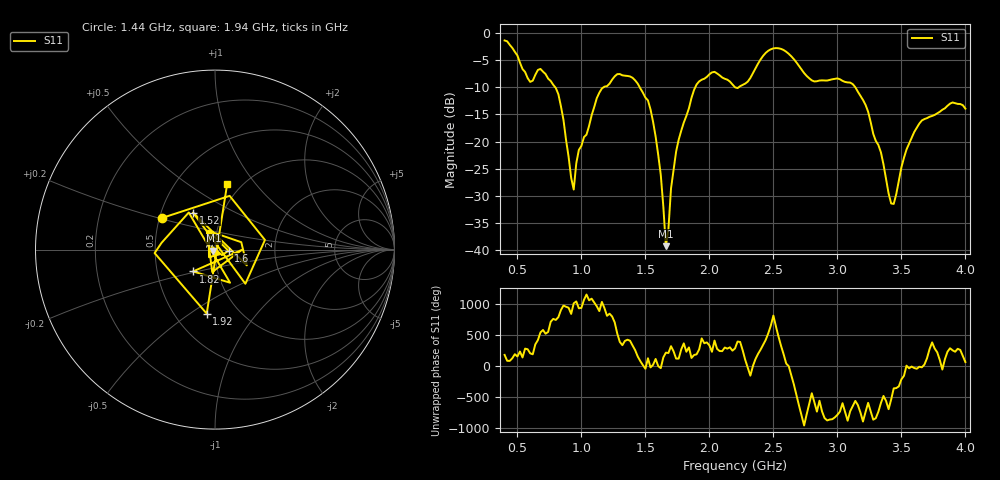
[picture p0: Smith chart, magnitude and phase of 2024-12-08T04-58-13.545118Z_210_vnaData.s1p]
!Created with skrf (http://scikit-rf.org).
# Hz S RI R 50.0
!freq ReS11 ImS11
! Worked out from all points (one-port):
!   181 points, 400 MHz to 4 GHz, reference 50 ohm
!   lowest |S11| = -39.3 dB at 1.66 GHz (marker M1), VSWR 1.02, Z = 49.1 - j0.535 ohm
!   |S11| at or under -10 dB: 796.6 MHz to 1.171 GHz (374.8 MHz wide, 38.1 % of centre); 1.456 GHz to 1.889 GHz (432.9 MHz wide, 25.9 % of centre); 3.141 GHz to end of sweep (the widest 3 of 4)
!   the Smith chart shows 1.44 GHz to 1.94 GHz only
!   S11 on the Smith chart (normalised r, x): 1.44 GHz: 0.52, +0.21; 1.52 GHz: 0.72, +0.32; 1.6 GHz: 1.16, -0.02; 1.82 GHz: 0.76, -0.19; 1.92 GHz: 0.71, -0.58; 1.94 GHz: 0.86, +0.73
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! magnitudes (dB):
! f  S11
! 400 MHz  -1.3
! 600 MHz  -9.0
! 720 MHz  -7.5
! 820 MHz  -11.3
! 860 MHz  -16.0
! 940 MHz  -28.9
! 980 MHz  -21.5
! 1.12 GHz  -12.0
! 1.3 GHz  -7.5
! 1.44 GHz  -9.3
! 1.52 GHz  -12.4
! 1.6 GHz  -22.4
! 1.66 GHz  -39.3
! 1.7 GHz  -28.7
! 1.76 GHz  -19.6
! 1.82 GHz  -15.3
! 1.92 GHz  -8.9
! 1.94 GHz  -8.6
! 2.2 GHz  -10.0
! 2.48 GHz  -3.0
! 2.66 GHz  -4.8
! 2.82 GHz  -8.9
! 3.1 GHz  -9.1
! 3.24 GHz  -14.5
! 3.42 GHz  -31.4
! 3.56 GHz  -20.4
! 3.66 GHz  -16.1
! 4 GHz  -13.9
